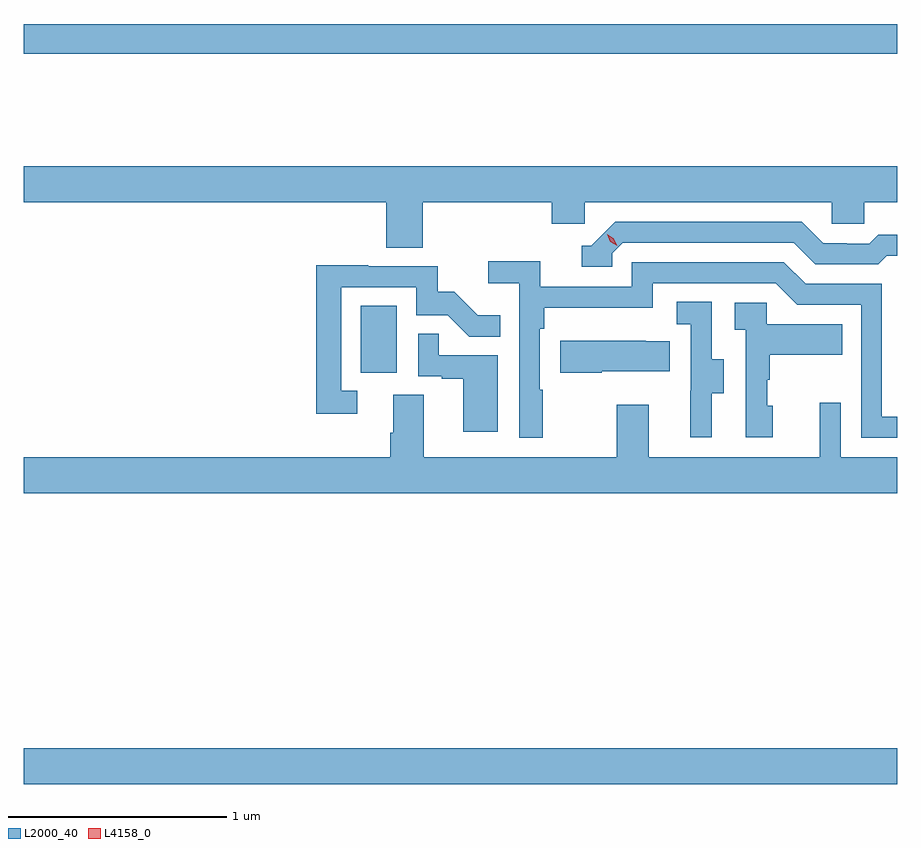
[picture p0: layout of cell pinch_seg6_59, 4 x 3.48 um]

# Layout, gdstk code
import gdstk
lib = gdstk.Library(unit=1e-6, precision=1e-09)
def R(c, l, rs):  # rectangles x0, y0, x1, y1
    for r in rs: c.add(gdstk.rectangle(r[:2], r[2:], *l))
def P(c, l, *ps):  # polygons
    for p in ps: c.add(gdstk.Polygon(p, *l))
L2000_40 = (2000, 40)
L4158_0 = (4158, 0)

pinch_seg6_59 = lib.new_cell('pinch_seg6_59')
R(pinch_seg6_59, L2000_40, [(1007.154,938.012,1011.154,938.176), (1008.698,939.894,1008.862,940.201), (1007.154,941.356,1011.154,941.492)])
P(pinch_seg6_59, L2000_40, [(1008.98,940.676),(1009.571,940.676),(1009.571,940.578),(1009.722,940.578),(1009.722,940.676),(1010.853,940.676),(1010.853,940.578),(1011.003,940.578),(1011.003,940.676),(1011.154,940.676),(1011.154,940.84),(1007.154,940.84),(1007.154,940.676),(1008.815,940.676),(1008.815,940.468),(1008.98,940.468)],
  [(1009.848,940.443),(1009.896,940.491),(1010.679,940.491),(1010.778,940.392),(1011.067,940.392),(1011.106,940.431),(1011.154,940.431),(1011.154,940.528),(1011.067,940.528),(1011.025,940.485),(1010.922,940.485),(1010.922,940.488),(1010.815,940.488),(1010.716,940.587),(1009.863,940.587),(1009.752,940.476),(1009.709,940.476),(1009.709,940.38),(1009.848,940.38)],
  [(1009.531,939.818),(1009.518,939.818),(1009.518,940.097),(1009.538,940.097),(1009.538,940.193),(1010.034,940.193),(1010.034,940.305),(1010.598,940.305),(1010.697,940.206),(1010.988,940.206),(1010.988,939.597),(1011.154,939.597),(1011.154,939.693),(1011.084,939.693),(1011.084,940.302),(1010.734,940.302),(1010.635,940.401),(1009.938,940.401),(1009.938,940.29),(1009.52,940.29),(1009.52,940.406),(1009.281,940.406),(1009.281,940.304),(1009.422,940.304),(1009.422,939.597),(1009.531,939.597)],
  [(1008.682,939.813),(1008.609,939.813),(1008.609,940.287),(1008.951,940.287),(1008.951,940.158),(1009.095,940.158),(1009.193,940.06),(1009.337,940.06),(1009.337,940.159),(1009.233,940.159),(1009.126,940.266),(1009.05,940.266),(1009.05,940.383),(1008.731,940.383),(1008.731,940.388),(1008.493,940.388),(1008.493,939.708),(1008.682,939.708)],
  [(1010.305,939.802),(1010.359,939.802),(1010.359,939.957),(1010.304,939.957),(1010.304,940.22),(1010.145,940.22),(1010.145,940.117),(1010.208,940.117),(1010.208,939.813),(1010.207,939.813),(1010.207,939.6),(1010.305,939.6)],
  [(1010.584,939.744),(1010.559,939.744),(1010.559,939.863),(1010.569,939.863),(1010.569,939.977),(1010.903,939.977),(1010.903,940.117),(1010.556,940.117),(1010.556,940.215),(1010.409,940.215),(1010.409,940.091),(1010.46,940.091),(1010.46,939.6),(1010.584,939.6)],
  [(1009.324,939.975),(1009.055,939.975),(1009.055,940.073),(1008.96,940.073),(1008.96,939.879),(1009.067,939.879),(1009.067,939.867),(1009.166,939.867),(1009.166,939.624),(1009.324,939.624)],
  [(1009.801,939.902),(1010.111,939.902),(1010.111,940.039),(1010.003,940.039),(1010.003,940.042),(1009.61,940.042),(1009.61,939.895),(1009.801,939.895)],
  [(1011.154,939.508),(1010.895,939.508),(1010.895,939.757),(1010.798,939.757),(1010.798,939.508),(1010.017,939.508),(1010.017,939.748),(1009.87,939.748),(1009.87,939.508),(1008.985,939.508),(1008.985,939.794),(1008.845,939.794),(1008.845,939.62),(1008.833,939.62),(1008.833,939.508),(1007.154,939.508),(1007.154,939.344),(1011.154,939.344)])
P(pinch_seg6_59, L4158_0, [(1009.871,940.476),(1009.84,940.496),(1009.825,940.529),(1009.825,940.529),(1009.825,940.529),(1009.855,940.509),(1009.871,940.476),(1009.871,940.476)])

lib.write_gds('pinch_seg6_59.gds')
